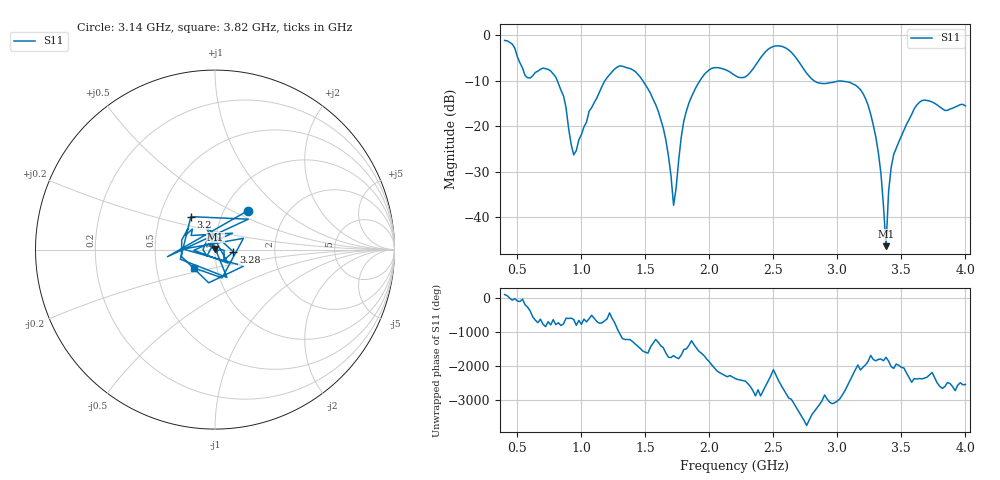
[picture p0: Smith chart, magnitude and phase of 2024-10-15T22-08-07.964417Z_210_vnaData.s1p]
! Created with skrf (http://scikit-rf.org).
# Hz S RI R 50.0
!freq ReS11 ImS11
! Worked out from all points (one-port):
!   181 points, 400 MHz to 4 GHz, reference 50 ohm
!   lowest |S11| = -46.4 dB at 3.38 GHz (marker M1), VSWR 1.01, Z = 50.3 + j0.398 ohm
!   |S11| at or under -10 dB: 810.8 MHz to 1.185 GHz (374.5 MHz wide, 37.5 % of centre); 1.479 GHz to 1.927 GHz (448.4 MHz wide, 26.3 % of centre); 2.815 GHz to end of sweep
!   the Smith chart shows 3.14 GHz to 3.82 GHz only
!   S11 on the Smith chart (normalised r, x): 3.14 GHz: 1.28, +0.60; 3.2 GHz: 0.72, +0.28; 3.28 GHz: 1.23, -0.03; 3.82 GHz: 0.78, -0.16
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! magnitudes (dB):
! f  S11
! 400 MHz  -1.2
! 560 MHz  -8.9
! 740 MHz  -7.5
! 860 MHz  -13.4
! 940 MHz  -26.3
! 1.3 GHz  -6.8
! 1.6 GHz  -16.7
! 1.66 GHz  -23.1
! 1.72 GHz  -37.4
! 1.76 GHz  -27.5
! 1.82 GHz  -16.7
! 1.94 GHz  -9.4
! 2.2 GHz  -8.9
! 2.5 GHz  -2.5
! 2.66 GHz  -4.4
! 2.84 GHz  -10.4
! 3.1 GHz  -10.5
! 3.14 GHz  -11.0
! 3.2 GHz  -12.9
! 3.28 GHz  -19.7
! 3.34 GHz  -30.4
! 3.38 GHz  -46.4
! 3.4 GHz  -34.4
! 3.42 GHz  -29.1
! 3.56 GHz  -18.6
! 3.66 GHz  -14.4
! 3.82 GHz  -16.2
! 4 GHz  -15.6
